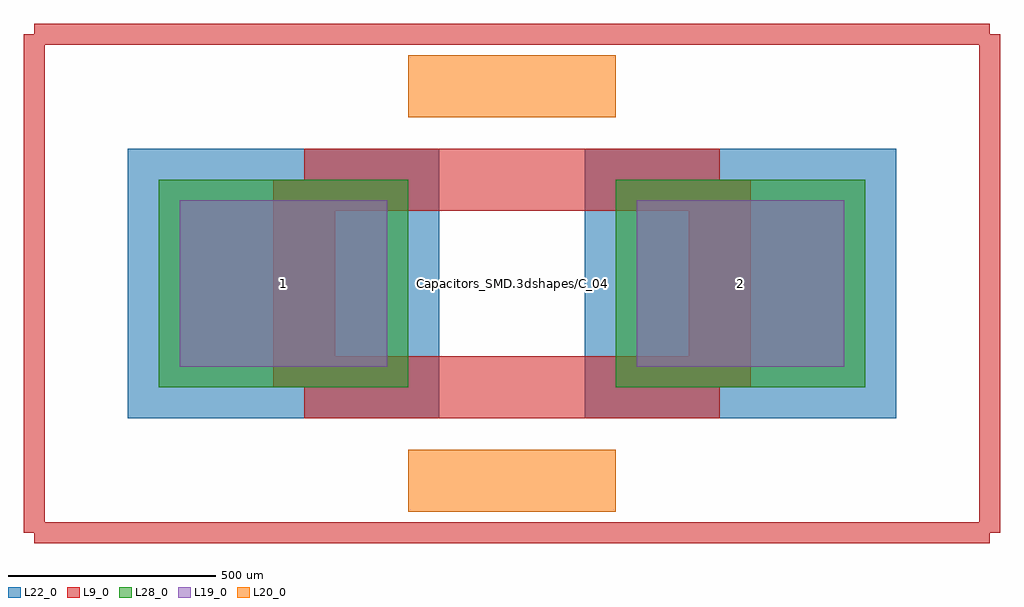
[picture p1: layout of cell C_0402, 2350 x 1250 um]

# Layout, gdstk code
import gdstk
lib = gdstk.Library(unit=1e-6, precision=1e-09)
def R(c, l, rs):  # rectangles x0, y0, x1, y1
    for r in rs: c.add(gdstk.rectangle(r[:2], r[2:], *l))
L9_0 = (9, 0)
L19_0 = (19, 0)
L20_0 = (20, 0)
L22_0 = (22, 0)
L28_0 = (28, 0)

c_0402 = lib.new_cell('C_0402')
R(c_0402, L19_0, [(-800,-200,-300,200), (300,-200,800,200)])
R(c_0402, L22_0, [(-925,-325,-175,325), (175,-325,925,325)])
R(c_0402, L28_0, [(-850,-250,-250,250), (250,-250,850,250)])
c_0402.add(gdstk.FlexPath([(-250,-475),(250,-475)], 149.998, ends="flush", simple_path=True, layer=20, datatype=0))  # L20_0
c_0402.add(gdstk.FlexPath([(250,475),(-250,475)], 149.998, ends="flush", simple_path=True, layer=20, datatype=0))  # L20_0
c_0402.add(gdstk.FlexPath([(1150,600),(1150,-600)], 50, ends="flush", simple_path=True, layer=9, datatype=0))  # L9_0
c_0402.add(gdstk.FlexPath([(-1150,600),(-1150,-600)], 50, ends="flush", simple_path=True, layer=9, datatype=0))  # L9_0
c_0402.add(gdstk.FlexPath([(-1150,-600),(1150,-600)], 50, ends="flush", simple_path=True, layer=9, datatype=0))  # L9_0
c_0402.add(gdstk.FlexPath([(-1150,600),(1150,600)], 50, ends="flush", simple_path=True, layer=9, datatype=0))  # L9_0
c_0402.add(gdstk.FlexPath([(-500,250),(500,250)], 149.998, ends="flush", simple_path=True, layer=9, datatype=0))  # L9_0
c_0402.add(gdstk.FlexPath([(500,250),(500,-250)], 149.998, ends="flush", simple_path=True, layer=9, datatype=0))  # L9_0
c_0402.add(gdstk.FlexPath([(500,-250),(-500,-250)], 149.998, ends="flush", simple_path=True, layer=9, datatype=0))  # L9_0
c_0402.add(gdstk.FlexPath([(-500,-250),(-500,250)], 149.998, ends="flush", simple_path=True, layer=9, datatype=0))  # L9_0
c_0402.add(gdstk.Label('Capacitors_SMD.3dshapes/C_0402.wrl', (0,0), layer=12, texttype=0))
c_0402.add(gdstk.Label('2', (550,0), layer=28, texttype=0))
c_0402.add(gdstk.Label('1', (-550,0), layer=28, texttype=0))
c_0402.add(gdstk.Label('type', (0,-1700), layer=9, texttype=0))
c_0402.add(gdstk.Label('devicename', (0,1700), layer=9, texttype=0))

lib.write_gds('C_0402.gds')
